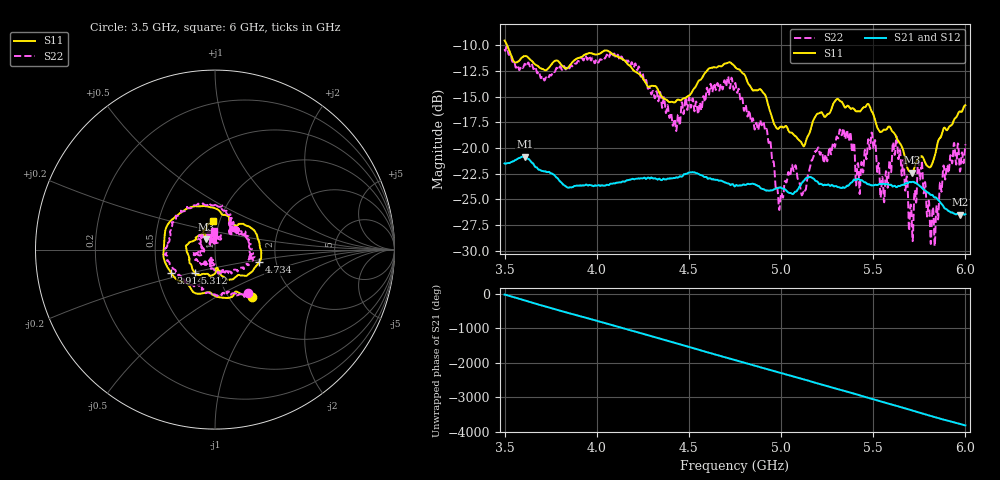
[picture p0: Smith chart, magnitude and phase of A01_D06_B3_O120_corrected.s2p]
! Created with skrf 1.9.0 (http://scikit-rf.org).
# Hz S RI R 50.0
!freq ReS11 ImS11 ReS21 ImS21 ReS12 ImS12 ReS22 ImS22
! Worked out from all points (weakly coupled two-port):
!   1601 points, 3.5 GHz to 6 GHz, reference 50 ohm
!   highest |S21| = -20.84 dB at 3.609 GHz (marker M1); lowest = -26.5 dB at 5.97 GHz (marker M2)
!   lowest |S11| = -22.4 dB at 5.711 GHz (marker M3), VSWR 1.16, Z = 44.9 + j5.1 ohm
!   |S11| at or under -10 dB: 3.513 GHz to end of sweep
!   |S22| runs from -29.6 to -10.1 dB; largest |S21 - S12| = 0.00095
!   S11 on the Smith chart (normalised r, x): 3.5 GHz: 1.27, -0.75; 3.914 GHz: 0.59, -0.16; 4.734 GHz: 1.63, -0.24; 5.312 GHz: 0.77, -0.21; 6 GHz: 0.93, +0.31
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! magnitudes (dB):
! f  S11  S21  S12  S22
! 3.5 GHz  -9.5  -21.5  -21.5  -10.4
! 3.609 GHz  -11.1  -20.8  -20.8  -11.8
! 3.914 GHz  -11.2  -23.7  -23.6  -11.3
! 3.917 GHz  -11.2  -23.7  -23.6  -11.2
! 4.334 GHz  -14.4  -23.0  -23.0  -15.5
! 4.423 GHz  -15.6  -22.9  -22.9  -17.2
! 4.734 GHz  -11.8  -23.5  -23.5  -13.3
! 4.75 GHz  -12.1  -23.7  -23.6  -13.7
! 4.912 GHz  -14.8  -24.1  -24.0  -18.2
! 4.995 GHz  -17.9  -23.8  -23.8  -25.1
! 5.167 GHz  -17.7  -22.9  -22.9  -21.2
! 5.312 GHz  -15.3  -23.8  -23.7  -18.9
! 5.417 GHz  -16.4  -23.0  -23.0  -21.5
! 5.484 GHz  -16.1  -23.6  -23.5  -19.8
! 5.55 GHz  -18.3  -23.5  -23.5  -22.8
! 5.584 GHz  -17.9  -23.6  -23.5  -21.9
! 5.634 GHz  -19.3  -23.7  -23.7  -20.8
! 5.711 GHz  -22.4  -23.3  -23.2  -28.1
! 5.753 GHz  -20.9  -23.7  -23.7  -23.1
! 5.823 GHz  -21.3  -24.6  -24.6  -25.8
! 5.97 GHz  -16.4  -26.5  -26.5  -22.3
! 6 GHz  -15.8  -26.4  -26.4  -19.6
